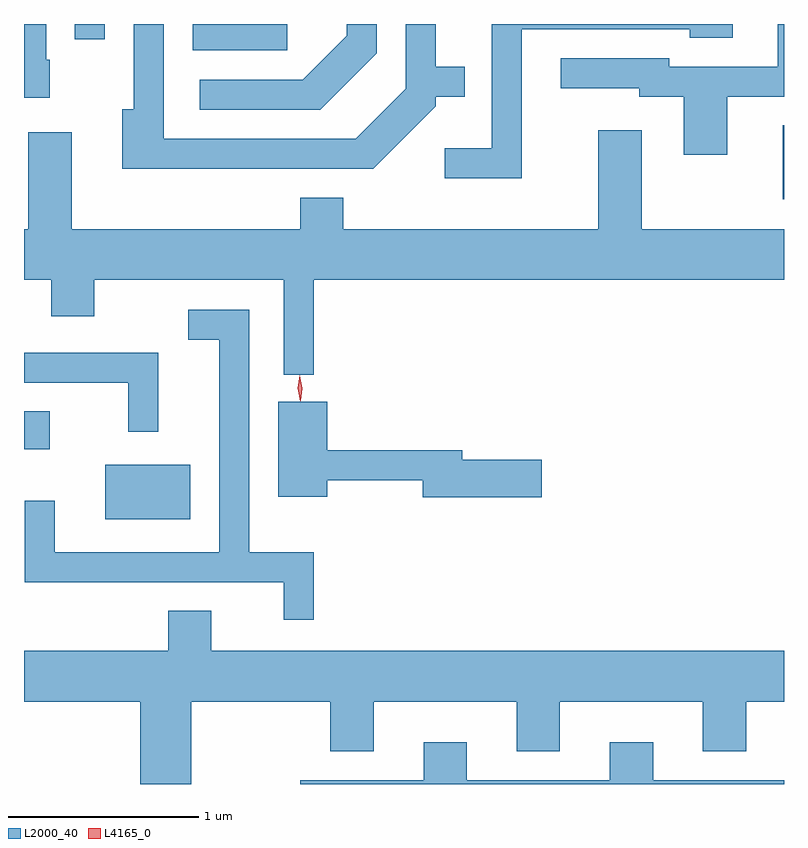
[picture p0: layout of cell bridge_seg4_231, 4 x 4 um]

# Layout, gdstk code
import gdstk
lib = gdstk.Library(unit=1e-6, precision=1e-09)
def R(c, l, rs):  # rectangles x0, y0, x1, y1
    for r in rs: c.add(gdstk.rectangle(r[:2], r[2:], *l))
def P(c, l, *ps):  # polygons
    for p in ps: c.add(gdstk.Polygon(p, *l))
L2000_40 = (2000, 40)
L4165_0 = (4165, 0)

bridge_seg4_231 = lib.new_cell('bridge_seg4_231')
R(bridge_seg4_231, L2000_40, [(730.116,1331.216,730.564,1331.504), (729.688,1331.586,729.824,1331.784), (733.681,1332.901,733.688,1333.289), (730.576,1333.686,731.073,1333.823), (729.956,1333.743,730.114,1333.823)])
P(bridge_seg4_231, L2000_40, [(732.309,1333.796),(733.191,1333.796),(733.191,1333.751),(733.419,1333.751),(733.419,1333.823),(732.151,1333.823),(732.151,1333.169),(731.903,1333.169),(731.903,1333.011),(732.309,1333.011)],
  [(731.544,1333.669),(731.544,1333.823),(731.386,1333.823),(731.386,1333.762),(731.154,1333.529),(730.613,1333.529),(730.613,1333.371),(731.247,1333.371)],
  [(731.854,1333.389),(731.854,1333.441),(732.008,1333.441),(732.008,1333.599),(731.854,1333.599),(731.854,1333.823),(731.696,1333.823),(731.696,1333.482),(731.434,1333.219),(730.424,1333.219),(730.424,1333.823),(730.266,1333.823),(730.266,1333.374),(730.206,1333.374),(730.206,1333.061),(731.527,1333.061)],
  [(733.389,1333.441),(733.688,1333.441),(733.688,1333.823),(733.656,1333.823),(733.656,1333.599),(733.084,1333.599),(733.084,1333.644),(732.513,1333.644),(732.513,1333.486),(732.926,1333.486),(732.926,1333.441),(733.161,1333.441),(733.161,1333.136),(733.389,1333.136)],
  [(729.824,1333.634),(729.804,1333.634),(729.804,1333.823),(729.688,1333.823),(729.688,1333.436),(729.824,1333.436)],
  [(731.214,1332.476),(733.688,1332.476),(733.688,1332.744),(732.939,1332.744),(732.939,1333.264),(732.711,1333.264),(732.711,1332.744),(731.369,1332.744),(731.369,1332.909),(731.141,1332.909),(731.141,1332.744),(729.939,1332.744),(729.939,1333.254),(729.711,1333.254),(729.711,1332.744),(729.688,1332.744),(729.688,1332.476),(729.831,1332.476),(729.831,1332.286),(730.059,1332.286),(730.059,1332.476),(731.056,1332.476),(731.056,1331.978),(731.214,1331.978)],
  [(731.214,1331.044),(730.874,1331.044),(730.874,1332.319),(730.553,1332.319),(730.553,1332.161),(730.716,1332.161),(730.716,1331.044),(729.849,1331.044),(729.849,1331.313),(729.691,1331.313),(729.691,1330.886),(731.056,1330.886),(731.056,1330.688),(731.214,1330.688)],
  [(730.394,1332.094),(729.688,1332.094),(729.688,1331.936),(730.236,1331.936),(730.236,1331.678),(730.394,1331.678)],
  [(732.414,1331.529),(731.994,1331.529),(731.994,1331.579),(731.284,1331.579),(731.284,1331.834),(731.026,1331.834),(731.026,1331.336),(731.284,1331.336),(731.284,1331.421),(731.786,1331.421),(731.786,1331.331),(732.414,1331.331)],
  [(730.569,1330.256),(731.301,1330.256),(731.301,1329.996),(731.529,1329.996),(731.529,1330.256),(732.281,1330.256),(732.281,1329.996),(732.509,1329.996),(732.509,1330.256),(733.261,1330.256),(733.261,1329.996),(733.489,1329.996),(733.489,1330.256),(733.688,1330.256),(733.688,1330.524),(730.674,1330.524),(730.674,1330.734),(730.446,1330.734),(730.446,1330.524),(729.688,1330.524),(729.688,1330.256),(730.301,1330.256),(730.301,1329.823),(730.569,1329.823)],
  [(733.688,1329.844),(732.999,1329.844),(732.999,1330.044),(732.771,1330.044),(732.771,1329.844),(732.019,1329.844),(732.019,1330.044),(731.791,1330.044),(731.791,1329.844),(731.141,1329.844),(731.141,1329.823),(733.688,1329.823)])
P(bridge_seg4_231, L4165_0, [(731.141,1331.838),(731.13,1331.906),(731.138,1331.975),(731.139,1331.975),(731.139,1331.975),(731.15,1331.907),(731.142,1331.838),(731.142,1331.838)],
  [(731.144,1331.84),(731.143,1331.841),(731.131,1331.906),(731.138,1331.972),(731.139,1331.972),(731.139,1331.972),(731.152,1331.907),(731.144,1331.841)])

lib.write_gds('bridge_seg4_231.gds')
